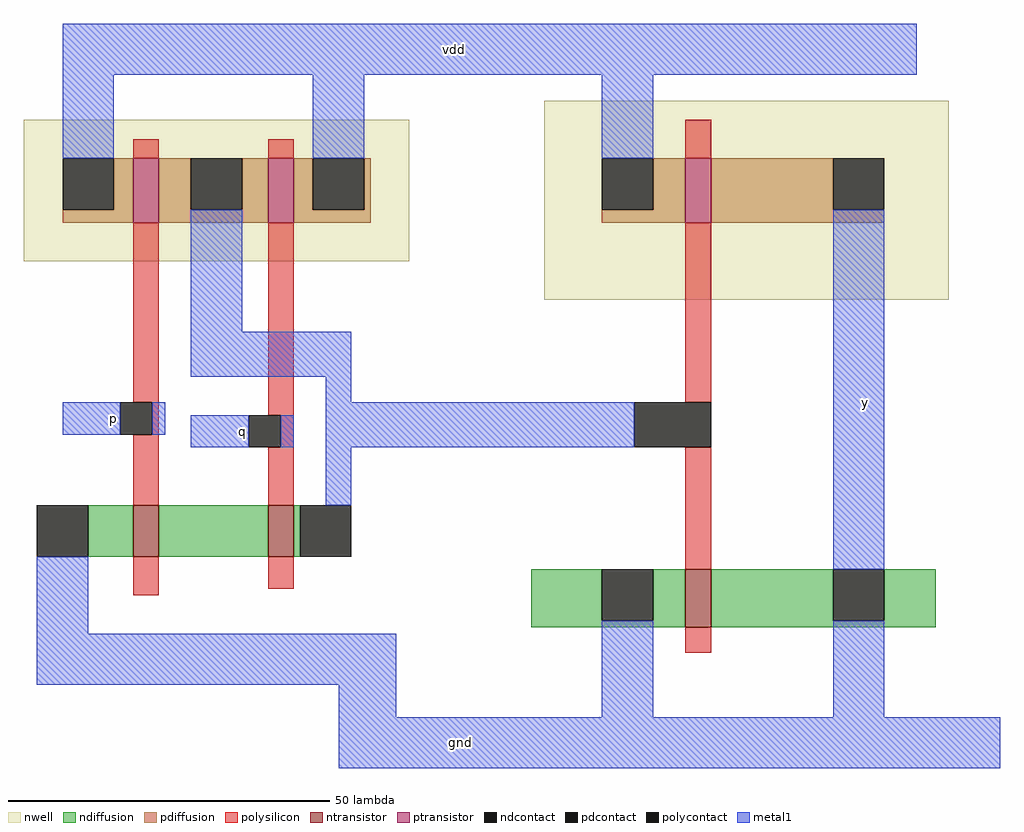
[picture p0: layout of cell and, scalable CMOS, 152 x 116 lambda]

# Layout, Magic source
magic
tech scmos
<< nwell >>
rect -44 12 16 34
rect 37 6 100 37
<< polysilicon >>
rect -27 28 -23 31
rect -6 28 -2 31
rect 59 28 63 34
rect -27 -10 -23 18
rect -24 -15 -23 -10
rect -6 -12 -2 18
rect 59 -10 63 18
rect -27 -26 -23 -15
rect -4 -17 -2 -12
rect -6 -26 -2 -17
rect -27 -40 -23 -34
rect -6 -39 -2 -34
rect 59 -36 63 -17
rect 59 -49 63 -45
<< ndiffusion >>
rect -34 -34 -27 -26
rect -23 -34 -6 -26
rect -2 -34 -1 -26
rect 35 -44 46 -36
rect 54 -44 59 -36
rect 35 -45 59 -44
rect 63 -44 82 -36
rect 90 -44 98 -36
rect 63 -45 98 -44
<< pdiffusion >>
rect -30 20 -27 28
rect -38 18 -27 20
rect -23 20 -18 28
rect -10 20 -6 28
rect -23 18 -6 20
rect -2 20 1 28
rect 9 20 10 28
rect -2 18 10 20
rect 54 20 59 28
rect 46 18 59 20
rect 63 20 82 28
rect 63 18 90 20
<< metal1 >>
rect -38 41 95 49
rect -38 28 -30 41
rect 1 28 9 41
rect 46 28 54 41
rect -18 1 -10 20
rect -18 -6 7 1
rect 3 -10 7 -6
rect -38 -15 -29 -10
rect -24 -15 -22 -10
rect -18 -17 -9 -12
rect -4 -17 -2 -12
rect 3 -17 51 -10
rect 3 -26 7 -17
rect -42 -46 -34 -34
rect 82 -36 90 20
rect -42 -54 14 -46
rect 5 -59 14 -54
rect 46 -59 54 -44
rect 82 -59 90 -44
rect 5 -67 108 -59
<< ntransistor >>
rect -27 -34 -23 -26
rect -6 -34 -2 -26
rect 59 -45 63 -36
<< ptransistor >>
rect -27 18 -23 28
rect -6 18 -2 28
rect 59 18 63 28
<< polycontact >>
rect -29 -15 -24 -10
rect -9 -17 -4 -12
rect 51 -17 63 -10
<< ndcontact >>
rect -42 -34 -34 -26
rect -1 -34 7 -26
rect 46 -44 54 -36
rect 82 -44 90 -36
<< pdcontact >>
rect -38 20 -30 28
rect -18 20 -10 28
rect 1 20 9 28
rect 46 20 54 28
rect 82 20 90 28
<< labels >>
rlabel metal1 -38 -15 -22 -10 1 p
rlabel metal1 -18 -17 -2 -12 1 q
rlabel metal1 23 45 23 45 5 vdd
rlabel metal1 24 -63 24 -63 1 gnd
rlabel metal1 87 -10 87 -10 1 y
<< end >>
